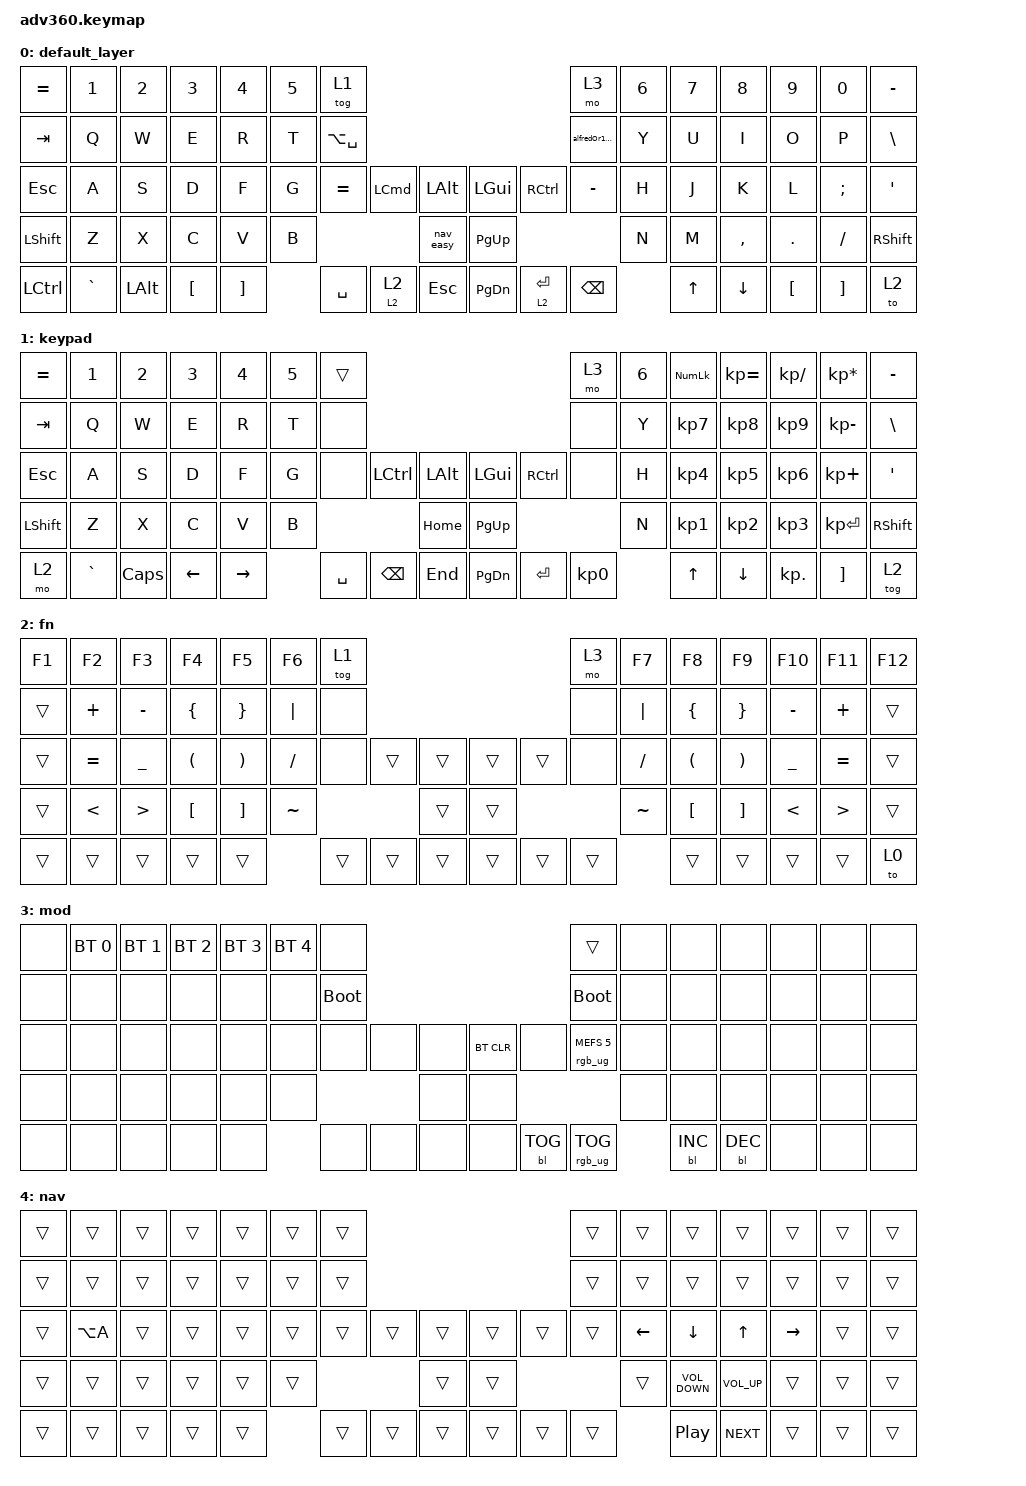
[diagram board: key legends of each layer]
#include <behaviors.dtsi>
#include <dt-bindings/zmk/backlight.h>
#include <dt-bindings/zmk/bt.h>
#include <dt-bindings/zmk/keys.h>
#include <dt-bindings/zmk/rgb.h>

/ {
    behaviors {
        #include "macros.dtsi"
      #include "version.dtsi"
      #ifndef VERSION_MACRO

        macro_ver: macro_ver {
            compatible = "zmk,behavior-macro";
            label = "macro_version";
            #binding-cells = <0>;
            bindings = <&kp RET>;
        };

        #endif

        hm: homerow_mods {
            compatible = "zmk,behavior-hold-tap";
            label = "HOMEROW_MODS";
            #binding-cells = <2>;
            tapping-term-ms = <200>;
            quick_tap_ms = <175>;
            flavor = "tap-preferred";
            bindings = <&kp>, <&kp>;
        };

        nav_easy: nav_easy {
            compatible = "zmk,behavior-tap-dance";
            label = "NAV_EASY";
            #binding-cells = <0>;
            bindings = <&mo 4>, <&tog 4>;
        };

        alfredOr1pass: alfredOr1pass {
            compatible = "zmk,behavior-tap-dance";
            label = "ALFREDOR1PASS";
            #binding-cells = <0>;
            bindings = <&kp LG(SPACE)>, <&kp LG(LS(NUMBER_1))>;
        };

        holdmo_tap_sticky: holdmo_tap_sticky {
            compatible = "zmk,behavior-hold-tap";
            label = "HOLDMO_TAP_STICKY";
            bindings = <&mo>, <&sl>;

            #binding-cells = <2>;
            tapping-term-ms = <200>;
            hold-trigger-key-positions = <66>;
        };

        holdlayer_kptap: holdlayer_kptap {
            compatible = "zmk,behavior-hold-tap";
            label = "HOLDLAYER_KPTAP";
            bindings = <&mo>, <&kp>;

            #binding-cells = <2>;
            tapping-term-ms = <200>;
            flavor = "tap-preferred";
        };
    };

    macros {
    };

    keymap {
        compatible = "zmk,keymap";

        default_layer {
            bindings = <
&kp EQUAL  &kp N1     &kp N2        &kp N3            &kp N4             &kp N5  &tog 1                                                                                        &mo 3           &kp N6  &kp N7  &kp N8     &kp N9    &kp N0    &kp MINUS
&kp TAB    &kp Q      &kp W         &kp E             &kp R              &kp T   &kp LA(SPACE)                                                                                 &alfredOr1pass  &kp Y   &kp U   &kp I      &kp O     &kp P     &kp BSLH
&kp ESC    &kp A      &kp S         &kp D             &kp F              &kp G   &kp EQUAL      &kp LEFT_COMMAND        &kp LEFT_ALT      &kp LGUI   &kp RCTRL                 &kp MINUS       &kp H   &kp J   &kp K      &kp L     &kp SEMI  &kp SQT
&kp LSHFT  &kp Z      &kp X         &kp C             &kp V              &kp B                                          &nav_easy         &kp PG_UP                                            &kp N   &kp M   &kp COMMA  &kp DOT   &kp FSLH  &kp RSHFT
&kp LCTRL  &kp GRAVE  &kp LEFT_ALT  &kp LEFT_BRACKET  &kp RIGHT_BRACKET          &kp SPACE      &holdmo_tap_sticky 2 2  &kp ESCAPE        &kp PG_DN  &holdlayer_kptap 2 ENTER  &kp BACKSPACE           &kp UP  &kp DOWN   &kp LBKT  &kp RBKT  &to 2
            >;
        };

        keypad {
            bindings = <
&kp EQUAL  &kp N1     &kp N2    &kp N3    &kp N4     &kp N5  &trans                                                    &mo 3      &kp N6  &kp KP_NUM  &kp KP_EQUAL  &kp KP_DIVIDE  &kp KP_MULTIPLY  &kp MINUS
&kp TAB    &kp Q      &kp W     &kp E     &kp R      &kp T   &none                                                     &none      &kp Y   &kp KP_N7   &kp KP_N8     &kp KP_N9      &kp KP_MINUS     &kp BSLH
&kp ESC    &kp A      &kp S     &kp D     &kp F      &kp G   &none      &kp LCTRL  &kp LALT      &kp LGUI   &kp RCTRL  &none      &kp H   &kp KP_N4   &kp KP_N5     &kp KP_N6      &kp KP_PLUS      &kp SQT
&kp LSHFT  &kp Z      &kp X     &kp C     &kp V      &kp B                         &kp HOME      &kp PG_UP                        &kp N   &kp KP_N1   &kp KP_N2     &kp KP_N3      &kp KP_ENTER     &kp RSHFT
&mo 2      &kp GRAVE  &kp CAPS  &kp LEFT  &kp RIGHT          &kp SPACE  &kp BSPC   &kp END       &kp PG_DN  &kp ENTER  &kp KP_N0          &kp UP      &kp DOWN      &kp KP_DOT     &kp RBKT         &tog 2
            >;
        };

        fn {
            bindings = <
&kp F1  &kp F2         &kp F3            &kp F4                &kp F5                 &kp F6     &tog 1                                      &mo 3   &kp F7     &kp F8                &kp F9                 &kp F10         &kp F11           &kp F12
&trans  &kp PLUS       &kp MINUS         &kp LEFT_BRACE        &kp RIGHT_BRACE        &kp PIPE   &none                                       &none   &kp PIPE   &kp LEFT_BRACE        &kp RIGHT_BRACE        &kp MINUS       &kp PLUS          &trans
&trans  &kp EQUAL      &kp UNDERSCORE    &kp LEFT_PARENTHESIS  &kp RIGHT_PARENTHESIS  &kp SLASH  &none   &trans  &trans      &trans  &trans  &none   &kp FSLH   &kp LEFT_PARENTHESIS  &kp RIGHT_PARENTHESIS  &kp UNDERSCORE  &kp EQUAL         &trans
&trans  &kp LESS_THAN  &kp GREATER_THAN  &kp LEFT_BRACKET      &kp RIGHT_BRACKET      &kp TILDE                  &trans      &trans                  &kp TILDE  &kp LEFT_BRACKET      &kp RIGHT_BRACKET      &kp LESS_THAN   &kp GREATER_THAN  &trans
&trans  &trans         &trans            &trans                &trans                            &trans  &trans  &trans      &trans  &trans  &trans             &trans                &trans                 &trans          &trans            &to 0
            >;
        };

        mod {
            bindings = <
&none  &bt BT_SEL 0  &bt BT_SEL 1  &bt BT_SEL 2  &bt BT_SEL 3  &bt BT_SEL 4  &none                                                  &trans                  &none  &none       &none       &none  &none  &none
&none  &none         &none         &none         &none         &none         &bootloader                                            &bootloader             &none  &none       &none       &none  &none  &none
&none  &none         &none         &none         &none         &none         &none        &none  &none      &bt BT_CLR  &none       &rgb_ug RGB_MEFS_CMD 5  &none  &none       &none       &none  &none  &none
&none  &none         &none         &none         &none         &none                             &none      &none                                           &none  &none       &none       &none  &none  &none
&none  &none         &none         &none         &none                       &none        &none  &none      &none       &bl BL_TOG  &rgb_ug RGB_TOG                &bl BL_INC  &bl BL_DEC  &none  &none  &none
            >;
        };

        nav {
            bindings = <
&trans  &trans     &trans  &trans  &trans  &trans  &trans                                      &trans  &trans          &trans             &trans           &trans           &trans  &trans
&trans  &trans     &trans  &trans  &trans  &trans  &trans                                      &trans  &trans          &trans             &trans           &trans           &trans  &trans
&trans  &kp LA(A)  &trans  &trans  &trans  &trans  &trans  &trans  &trans      &trans  &trans  &trans  &kp LEFT_ARROW  &kp DOWN_ARROW     &kp UP_ARROW     &kp RIGHT_ARROW  &trans  &trans
&trans  &trans     &trans  &trans  &trans  &trans                  &trans      &trans                  &trans          &kp C_VOLUME_DOWN  &kp C_VOLUME_UP  &trans           &trans  &trans
&trans  &trans     &trans  &trans  &trans          &trans  &trans  &trans      &trans  &trans  &trans                  &kp C_PLAY_PAUSE   &kp C_NEXT       &trans           &trans  &trans
            >;
        };
    };
};
